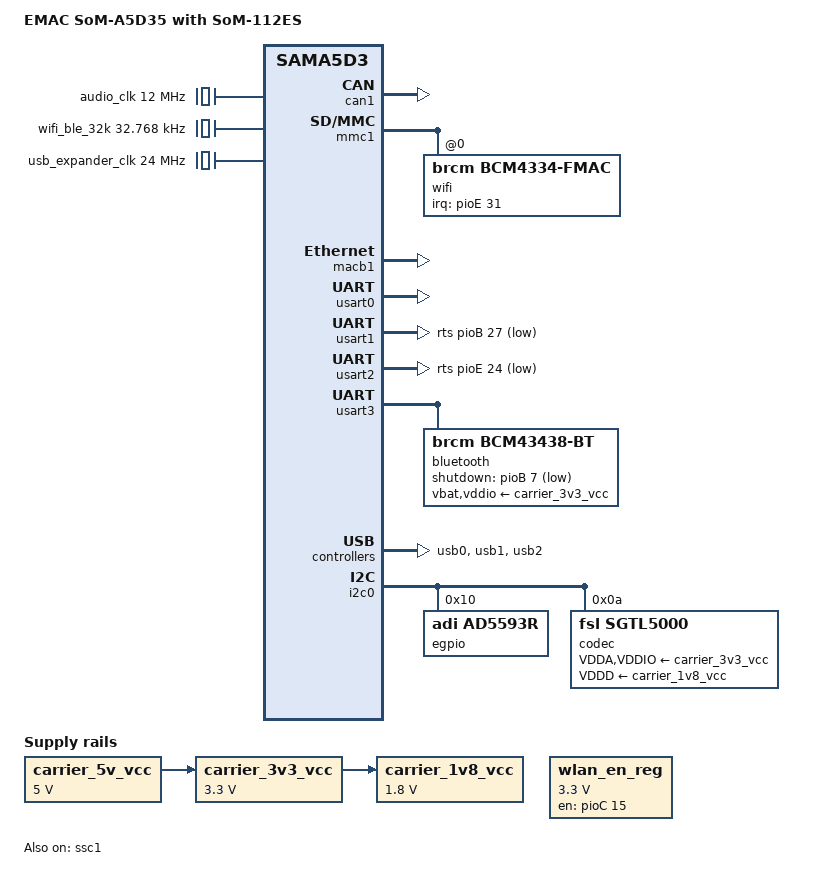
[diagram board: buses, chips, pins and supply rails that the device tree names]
/*
 * som-a5d35-112es.dtsi - Device Tree file for the SoM-A5D35 with SoM-112ES.
 *
 *  Copyright (C) 2022 EMAC Inc.
 *
 * Licensed under GPLv2 or later.
 */
/dts-v1/;
#include "som-a5d35.dts"
#include <dt-bindings/gpio/gpio.h>

/ {
	model = "EMAC SoM-A5D35 with SoM-112ES";
	compatible = "emac,som112es", "emac,soma5d35", "atmel,sama5d3", "atmel,sama5";

	chosen {
        stdout-path = &dbgu;
    };

    aliases {
        comA = &usart0;
        comC = &usart1;
        comB = &usart2;
		usbconsole = &dbgu;
		spi0 = &spi0;
	};

	clocks {
		audio_clk: oscillator@1 { 
			compatible = "fixed-clock";
			#clock-cells = <0>;
			clock-output-names = "I2S_MCLK";
			clock-frequency = <12000000>;
		};
		wifi_ble_32k: oscillator@2 { 
			compatible = "fixed-clock";
			#clock-cells = <0>;
			clock-output-names = "LPO_IN-i";
			clock-frequency = <32768>;
		};
		usb_expander_clk: oscillator@2 { 
			compatible = "fixed-clock";
			#clock-cells = <0>;
			clock-output-names = "USB2660i-XTAL1";
			clock-frequency = <24000000>;
		};
	};

	regulators {
		carrier_5v_vcc: som-5v-vcc {
			compatible = "regulator-fixed";
			regulator-name = "5V_VCC";
			regulator-min-microvolt = <5000000>;
			regulator-max-microvolt = <5000000>;
		};
        carrier_3v3_vcc: som-3v3-vcc {
			compatible = "regulator-fixed";
			regulator-name = "3P3_VCC";
			regulator-min-microvolt = <3300000>;
			regulator-max-microvolt = <3300000>;
            vin-supply = <&carrier_5v_vcc>;
		};
		carrier_1v8_vcc: som-1v8-vcc {
			compatible = "regulator-fixed";
			regulator-name = "1P8_VCC";
			regulator-min-microvolt = <1800000>;
			regulator-max-microvolt = <1800000>;
            vin-supply = <&carrier_3v3_vcc>;
		};
        som_3v3_vcc: som-3v3-vcc {
            vin-supply = <&carrier_3v3_vcc>;
        };
		wlan_en_reg: wlan-en-reg {
			compatible = "regulator-fixed";
			regulator-name = "wlan-en-regulator";
			regulator-min-microvolt = <3300000>;
			regulator-max-microvolt = <3300000>;
			gpio = <&pioC 15 1>;
			regulator-always-on;
			startup-delay-us = <2000>;
			enable-active-high;
        };
	};

	sound {
		compatible = "simple-audio-card";
		simple-audio-card,name = "sgtl5000";
		simple-audio-card,format = "i2s";
		simple-audio-card,bitclock-master = <&codec_master>;
		simple-audio-card,frame-master = <&codec_master>;
		simple-audio-card,widgets =
			"Line", "Line In",
			"Line", "Line Out";
		simple-audio-card,routing =
			"Line In", "Capture",
			"Line Out", "Playback";

		cpu_master: simple-audio-card,cpu {
			sound-dai = <&ssc1>;
		};

		codec_master: simple-audio-card,codec {
			sound-dai = <&codec>;
		};
	};

};
&can1 {
    status = "okay";
};
&mmc1 {
    status = "okay";
    wifi@0 {
		compatible = "brcm,bcm4334-fmac", "brcm,bcm4329-fmac";
		reg = <0>;
		interrupt-parent = <&pioE>;
		interrupts = <31 IRQ_TYPE_EDGE_FALLING>;
		interrupt-names = "host-wake";
		status = "okay";
	};
};
&macb1 {
    status = "okay";
};
&ssc1 {
    #sound-dai-cells = <0>;
    status = "okay";
};
&usart0 {
    atmel,use-dma-tx;
    atmel,use-dma-rx;
    status = "okay";
};
&usart1 {
    pinctrl-0 = <&pinctrl_usart1
        &pinctrl_usart1_rts_cts
        &pinctrl_usart1_dsr_dtr_dcd_ri>;
    atmel,use-dma-tx;
    atmel,use-dma-rx;
    status = "okay";

    rts-gpios = <&pioB 27 GPIO_ACTIVE_LOW>;
    cts-gpios = <&pioB 26 GPIO_ACTIVE_LOW>;
    dtr-gpios = <&pioB 8 GPIO_ACTIVE_LOW>;
    dsr-gpios = <&pioA 22 GPIO_ACTIVE_LOW>;
    dcd-gpios = <&pioA 20 GPIO_ACTIVE_LOW>;
    rng-gpios = <&pioB 12 GPIO_ACTIVE_LOW>;
};
&usart2 {
    pinctrl-names = "default";
    pinctrl-0 = <&pinctrl_usart2 &pinctrl_usart2_rts_cts>;
    atmel,use-dma-tx;
    atmel,use-dma-rx;
    status = "okay";

    rts-gpios = <&pioE 24 GPIO_ACTIVE_LOW>;
    cts-gpios = <&pioE 23 GPIO_ACTIVE_LOW>;
};
&usart3 {
    atmel,use-dma-tx;
    atmel,use-dma-rx;
    status = "okay";
	bluetooth {         
		compatible = "brcm,bcm43438-bt";
		clocks = <&wifi_ble_32k 1>;
		clock-names = "lpo";
		vbat-supply = <&carrier_3v3_vcc>;
		vddio-supply = <&carrier_3v3_vcc>;
		shutdown-gpios = <&pioB 7 GPIO_ACTIVE_LOW>;
	};
};
&usb0 {
    atmel,vbus-gpio = <&pioD 30 GPIO_ACTIVE_HIGH>;
    status = "okay";
};
&usb1 {
    status = "okay";
};
&usb2 {
    status = "okay";
};
&i2c0 {
	status = "okay";
	egpio: ad5593r@10 {
		#size-cells = <0>;
		#address-cells = <1>;
		#gpio-cells = <2>;
		compatible = "adi,ad5593r";
		reg = <0x10>;
		gpio-controller;

		channel@0 {
			reg = <0>;
			adi,mode = <CH_MODE_GPIO>;
			adi,off-state = <CH_OFFSTATE_PULLDOWN>;
		};

		channel@1 {
			reg = <1>;
			adi,mode = <CH_MODE_GPIO>;
			adi,off-state = <CH_OFFSTATE_PULLDOWN>;
		};

		channel@2 {
			reg = <2>;
			adi,mode = <CH_MODE_GPIO>;
			adi,off-state = <CH_OFFSTATE_PULLDOWN>;
		};

		channel@3 {
			reg = <3>;
			adi,mode = <CH_MODE_GPIO>;
			adi,off-state = <CH_OFFSTATE_PULLDOWN>;
		};

		channel@4 {
			reg = <4>;
			adi,mode = <CH_MODE_DAC_AND_ADC>;
			adi,off-state = <CH_OFFSTATE_PULLDOWN>;
		};

		channel@5 {
			reg = <5>;
			adi,mode = <CH_MODE_DAC_AND_ADC>;
			adi,off-state = <CH_OFFSTATE_PULLDOWN>;
		};

		channel@6 {
			reg = <6>;
			adi,mode = <CH_MODE_DAC_AND_ADC>;
			adi,off-state = <CH_OFFSTATE_PULLDOWN>;
		};

		channel@7 {
			reg = <7>;
			adi,mode = <CH_MODE_DAC_AND_ADC>;
			adi,off-state = <CH_OFFSTATE_PULLDOWN>;
		};

	};

	codec: sgtl5000@0a {
		#sound-dai-cells = <0>;
		reg = <0x0a>;
		compatible = "fsl,sgtl5000";
		clocks = <&audio_clk>;
		VDDA-supply = <&carrier_3v3_vcc>;
		VDDIO-supply = <&carrier_3v3_vcc>;
		VDDD-supply = <&carrier_1v8_vcc>;
	};
};

&pinctrl {
    ssc1 {
        pinctrl_ssc1_rx: ssc1_rx {
            atmel,pins =
                <AT91_PIOB 11 AT91_PERIPH_B AT91_PINCTRL_NONE>;	/* PB11 periph B RD1, conflicts with GRXCK */
        };
    };

    usart1 {
        pinctrl_usart1_dsr_dtr_dcd_ri: usart1_dsr_dtr_dcd_ri-0 {
            atmel,pins =
                <AT91_PIOA 20 AT91_PERIPH_GPIO AT91_PINCTRL_PULL_UP 	// DCD
                    AT91_PIOA 22 AT91_PERIPH_GPIO AT91_PINCTRL_PULL_UP 	// DSR
                    AT91_PIOB 8 AT91_PERIPH_GPIO AT91_PINCTRL_PULL_UP 		// DTR
                    AT91_PIOB 12 AT91_PERIPH_GPIO AT91_PINCTRL_PULL_UP>; 	// RI
        };
    };
};

&pioA {
	gpio-line-names = 
		"",
		"",
		"",
		"",
		"",
		"",
		"",
		"",
		"",
		"",
		"",
		"",
		"",
		"",
		"",
		"",
		"",
		"",
		"",
		"",
		"COM-C DCD1",	// PA20 / PMWH0
		"",
		"COM-C DSR1",	// PA22 / PWMH1
		"WDT_PULSE", 	//PA23
		"WDT_EN#", 		//PA24
		"ADREF_EN", 	//PA25
		"STATUS", 		//PA26
		"",
		"",
		"",
		"TWD0 +(HDR1-43, MicroBus-11)",		// PA30 / TWD0 / URXD1
		"TWCK0 +(HDR1-41, MicroBus-12)";	// PA31 / TWCK0 / UTXD1
};
&pioB {
	gpio-line-names = 
		"",
		"",
		"I2S_SCK",	// PB2 / TK1
		"I2S_LRCLK",	// PB3 / TF1
		"",
		"",
		"I2C_DOUT",	// PB6 / TD1
		"Bluetooth RegOn",	// PB7 / RK1
		"COM-C DTR1",	// PB8 / PWMH2
		"",
		"",	// PB10 / RF1
		"I2S_DIN",	// PB11 / RD1
		"COM-C RI1",	// PB12 / PWMH3
		"",
		"CANRX1",	// PB14 / CANRX1
		"CANTX1",	// PB15 / CANTX1
		"",
		"",
		"",
		"WiFi_CMD",	// PB19 / MCI1_CDA
		"WiFi_DAT0",	// PB20 / MCI1_DA0
		"WiFi_DAT1",	// PB21 / MCI1_DA1
		"WiFi_DAT2",	// PB22 / MCI1_DA2
		"WiFi_DAT3",	// PB23 / MCI1_DA3
		"WiFi_SCLK",	// PB24 / MCI1_CK
		"",
		"COM-C CTS1",	// PB26 / CTS1
		"COM-C RTS1",	// PB27 / RTS1
		"COM-C RXD1",	// PB28 / RXD1
		"COM-C TXD1",	// PB29 / TXD1
		"COM-E DBG UART RX",	// PB30 / DRXD
		"COM-E DBG UART TX";	// PB31 / DTXD
};
&pioC {
	gpio-line-names = 
		"ETX0", 	//PC0
		"ETX1", 	//PC1
		"ERX0", 	//PC2
		"ERX1", 	//PC3
		"ETXEN", 	//PC4
		"ECRSDV", 	//PC5
		"ERXER", 	//PC6
		"EREFCK", 	//PC7
		"EMDC", 	//PC8
		"EMDIO", 	//PC9
		"ETH_OSC_EN", 	//PC10
		"",
		"HDR1-44, MicroBus-16",	// PC12 / TIOA1
		"MCI1_DET",	// PC13 use this to determine if wifi is populated
		"Jumper 9 switch",	// PC14 
		"WiFi RegOn",	// PC15 / PCK2
		"",
		"",
		"",
		"",
		"",
		"",
		"HDR1-19",	// PC22 / SPI1_MISO
		"HDR1-21",	// PC23 / SPI1_MOSI
		"HDR1-23",	// PC24 / SPI1_SPCK
		"",
		"HDR1-25",	// PC26 / SPI1_NPCS1 / TWD1
		"HDR1-27", 	// PC27 / SPI1_NPCS2 / TWCK1
		"",
		"",
		"",
		"HDR1-42, MicroBus-15";	// PC31 / FIQ / PWMFI1
};
&pioD {
	gpio-line-names = 
		"MCI0_CDA", 	//PD0
		"MCI0_DA0", 	//PD1
		"MCI0_DA1", 	//PD2
		"MCI0_DA2", 	//PD3
		"MCI0_DA3", 	//PD4
		"",
		"HDR1-46",	// PD6 / TIOB0 / PWML2
		"",
		"",
		"MCI0_CK", 	//PD9
		"SPI0_MISO pin-122",	// SPI0_MISO
		"SPI0_MOSI pin-121",	// SPI0_MOSI
		"SPI0_SPCK pin-120",	// SPI0_SPCK
		"SPI0_CS0", 	//PD13
		"SPI0_CS1_EXT (MicroBus-3)",	// PD14 / SCK0 / SPI0_CS1 / CANRX0
		"SPI0_CS2_EXT (HDR1-35)",	// PD15 / CTS0 / SPI0_CS2 / CANTX0
		"SPI0_CS3_EXT (HDR1-37)",	// PD16 / RTS0 / SPI0_CS3 / PWMFI2
		"COM-A RXD0",	// PD17 / RXD0
		"COM-A TXD0",	// PD18 / TXD0
		"ETH_INT", 	//PD19
		"HDR1-13, MicroBus-1",	// PD20 / AD0
		"HDR1-14",	// PD21 / AD1
		"HDR1-15",	// PD22 / AD2
		"HDR1-16",	// PD23 / AD3
		"",
		"",
		"",
		"",
		"",
		"",
		"USB_VBUS",	// PD30 / AD10 / PCK0
		"";
};
&pioE {
	gpio-line-names = 
		"",
		"",
		"",
		"",
		"",
		"",
		"",
		"",
		"",
		"",
		"",
		"",
		"",
		"",
		"",
		"",
		"",
		"",
		"COM-D RXD3",	// PE18 / EBI_A18 / RXD3
		"COM-D TXD3",	// PE19 / EBI_A19 / TXD3
		"".
		"".
		"",
		"COM-B CTS2",	// PE23 / CTS2
		"COM-B RTS2",	// PE24 / RTS2
		"COM-B RXD2",	// PE25 / RXD2
		"COM-B TXD2",	// PE26 / EBI_NCS0 / TXD2
		"".
		"",
		"",
		"",
		"Wifi Host Wakeup IRQ";	// PE31 / IRQ / PWML1
};

&egpio {
	gpio-line-names = 
		"HDR1-5",
		"HDR1-6",
		"HDR1-7",
		"HDR1-8",
		"HDR1-9",
		"HDR1-10",
		"HDR1-11",
		"HDR1-12";
};
